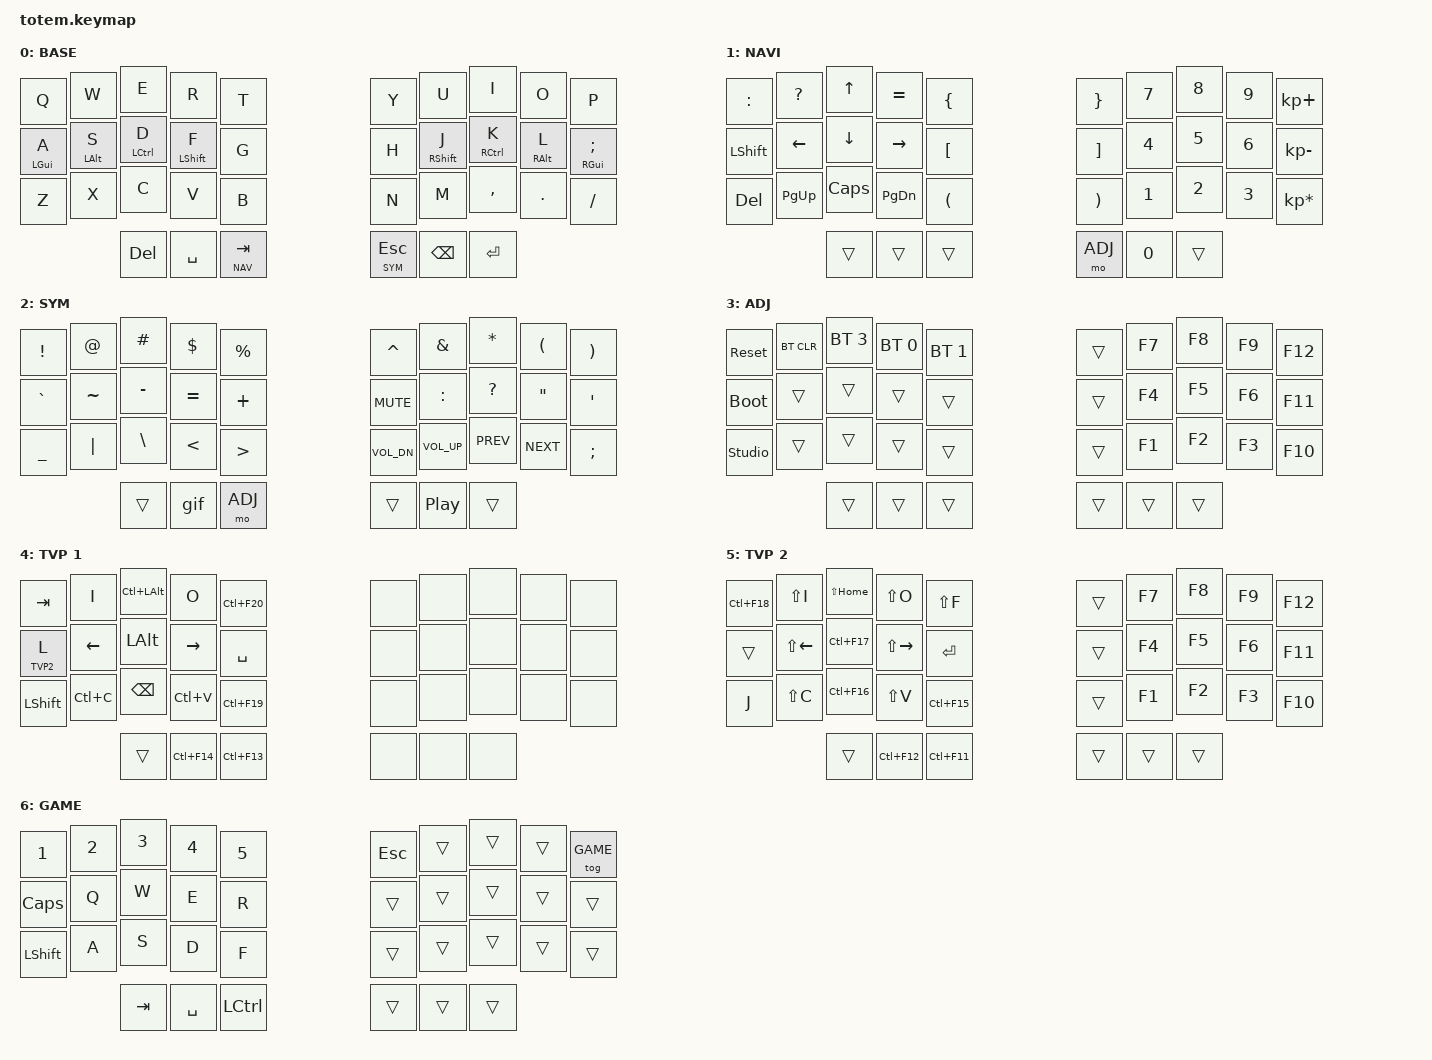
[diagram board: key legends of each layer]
//
//                                                        ▀▀▀▀▀     ▀▀▀▀▀          ▀▀█▀▀
//                                                        ▄▀▀▀▄  ▄  ▄▀▀▀▄  ▄  ▄▀▀▀▄  █  ▄▀▀▀▄
//                                                        █   █  █  █   █  █  █   █  █  █   █
//                                                         ▀▀▀   █   ▀▀▀   █   ▀▀▀   ▀   ▀▀▀
//                                                               █      ▄▄▄█▄▄▄    █   █  
//                                                               ▀      █  █  █     █▄█
//                                                             ▀▀▀▀▀    █  █  █      ▀
//                                                                      ▀  ▀  ▀
//
// ▄▄▄▄▄▄▄▄▄▄▄▄▄▄▄▄▄▄▄▄▄▄▄▄▄▄▄▄▄▄▄▄▄▄▄▄▄▄▄▄▄▄▄▄▄▄▄▄▄▄▄▄▄▄▄▄▄▄▄▄▄▄▄▄▄▄▄▄▄▄▄▄▄▄▄▄▄▄▄▄▄▄▄▄▄▄▄▄▄▄▄▄▄▄▄▄▄▄▄▄▄▄▄▄▄▄▄▄▄▄▄▄▄▄▄▄▄▄▄▄▄▄▄▄▄▄▄▄▄▄▄▄▄▄▄▄▄▄▄▄▄▄▄▄▄▄▄▄▄
       

#include <behaviors.dtsi>
#include <dt-bindings/zmk/keys.h>
#include <dt-bindings/zmk/bt.h>

#define BASE 0
#define NAV  1
#define SYM  2
#define ADJ  3
#define TVP1 4
#define TVP2 5
#define GAME 6

&mt {
  quick-tap-ms = <100>;
  global-quick-tap;
  flavor = "tap-preferred";
  tapping-term-ms = <170>;
};

/ {
     combos {
            compatible = "zmk,combos";
            combo_esc {
                timeout-ms = <50>;
                key-positions = <0 1>;
                bindings = <&kp ESC>;
                layers = <BASE NAV SYM ADJ TVP1 TVP2>;
            };
            combo_tvp {
                timeout-ms = <100>;
                key-positions = <11 12 13>;
                bindings = <&tog TVP1>;
                layers = <BASE NAV SYM ADJ TVP1 TVP2>;
            };
            combo_game {
                timeout-ms = <100>;
                key-positions = <30 35>;
                bindings = <&tog GAME>;
                layers = <BASE>;
            };
    };

    macros {
        gif: gif {
            label = "giphy";
            compatible = "zmk,behavior-macro";
            #binding-cells = <0>;
            bindings
                = <&macro_press &kp LSHFT>
                , <&macro_tap &kp N2>
                , <&macro_release &kp LSHFT>
                , <&macro_tap &kp G &kp I &kp F>
                ;
        };
    };

        keymap {
                compatible = "zmk,keymap";
// ▄▄▄▄▄▄▄▄▄▄▄▄▄▄▄▄▄▄▄▄▄▄▄▄▄▄▄▄▄▄▄▄▄▄▄▄▄▄▄▄▄▄▄▄▄▄▄▄▄▄▄▄▄▄▄▄▄▄▄▄▄▄▄▄▄▄▄▄▄▄▄▄▄▄▄▄▄▄▄▄▄▄▄▄▄▄▄▄▄▄▄▄▄▄▄▄▄▄▄▄▄▄▄▄▄▄▄▄▄▄▄▄▄▄▄▄▄▄▄▄▄▄▄▄▄▄▄▄▄▄▄▄▄▄▄▄▄▄▄▄▄▄▄▄▄▄▄▄▄

                base_layer {
// ┏━━━━━━━━━━━━━━━━━━━━━━━━━━━━━━━━━━━━━━━┓
label= "BASE"                              ;
// ┗━━━━━━━━━━━━━━━━━━━━━━━━━━━━━━━━━━━━━━━┛
//             ┏━━━━━━━━━━━┳━━━━━━━━━━━┳━━━━━━━━━━━┳━━━━━━━━━━━┳━━━━━━━━━━━┓   ┏━━━━━━━━━━━┳━━━━━━━━━━━┳━━━━━━━━━━━┳━━━━━━━━━━━┳━━━━━━━━━━━┓
//             ┃     Q     ┃     W     ┃     E     ┃     R     ┃     T     ┃   ┃     Y     ┃     U     ┃     I     ┃     O     ┃     P     ┃
//             ┣━━━━━━━━━━━╋━━━━━━━━━━━╋━━━━━━━━━━━╋━━━━━━━━━━━╋━━━━━━━━━━━┫   ┣━━━━━━━━━━━╋━━━━━━━━━━━╋━━━━━━━━━━━╋━━━━━━━━━━━╋━━━━━━━━━━━┫
//             ┃     A     ┃     S     ┃     D     ┃     F     ┃     G     ┃   ┃     H     ┃     J     ┃     K     ┃     L     ┃     ;     ┃
// ┏━━━━━━━━━━━╋━━━━━━━━━━━╋━━━━━━━━━━━╋━━━━━━━━━━━╋━━━━━━━━━━━╋━━━━━━━━━━━┫   ┣━━━━━━━━━━━╋━━━━━━━━━━━╋━━━━━━━━━━━╋━━━━━━━━━━━╋━━━━━━━━━━━╋━━━━━━━━━━━┓
// ┃     Q     ┃     Z     ┃     X     ┃     C     ┃     V     ┃     B     ┃   ┃     N     ┃     M     ┃     ,     ┃     .     ┃     /     ┃     \     ┃
// ┗━━━━━━━━━━━┻━━━━━━━━━━━┻━━━━━━━━━━━╋━━━━━━━━━━━╋━━━━━━━━━━━╋━━━━━━━━━━━┫   ┣━━━━━━━━━━━╋━━━━━━━━━━━╋━━━━━━━━━━━╋━━━━━━━━━━━┻━━━━━━━━━━━┻━━━━━━━━━━━┛
//                                     ┃    DEL    ┃   SPACE   ┃  TAB/NAV  ┃   ┃  ESC/SYM  ┃   BSPC    ┃   ENTER   ┃
//                                     ┗━━━━━━━━━━━┻━━━━━━━━━━━┻━━━━━━━━━━━┛   ┗━━━━━━━━━━━┻━━━━━━━━━━━┻━━━━━━━━━━━┛
 bindings = <
// ╷           ╷           ╷           ╷           ╷           ╷           ╷   ╷           ╷           ╷           ╷           ╷           ╷           ╷

                &kp Q       &kp W       &kp E       &kp R       &kp T           &kp Y       &kp U       &kp I       &kp O       &kp P
                &mt LGUI A  &mt LALT S  &mt LCTRL D &mt LSHFT F &kp G           &kp H       &mt RSHFT J &mt RCTRL K &mt RALT L  &mt RGUI SEMI
                &kp Z       &kp X       &kp C       &kp V       &kp B           &kp N       &kp M       &kp COMMA   &kp DOT     &kp FSLH
                                        &kp DEL   &kp SPACE   &lt NAV TAB       &lt SYM ESC   &kp BSPC   &kp RET
                        >;
                };

// ▄▄▄▄▄▄▄▄▄▄▄▄▄▄▄▄▄▄▄▄▄▄▄▄▄▄▄▄▄▄▄▄▄▄▄▄▄▄▄▄▄▄▄▄▄▄▄▄▄▄▄▄▄▄▄▄▄▄▄▄▄▄▄▄▄▄▄▄▄▄▄▄▄▄▄▄▄▄▄▄▄▄▄▄▄▄▄▄▄▄▄▄▄▄▄▄▄▄▄▄▄▄▄▄▄▄▄▄▄▄▄▄▄▄▄▄▄▄▄▄▄▄▄▄▄▄▄▄▄▄▄▄▄▄▄▄▄▄▄▄▄▄▄▄▄▄▄▄▄


                nav_layer {
// ┏━━━━━━━━━━━━━━━━━━━━━━━━━━━━━━━━━━━━━━━┓
label= "NAVI"                              ;
// ┗━━━━━━━━━━━━━━━━━━━━━━━━━━━━━━━━━━━━━━━┛
//             ┏━━━━━━━━━━━┳━━━━━━━━━━━┳━━━━━━━━━━━┳━━━━━━━━━━━┳━━━━━━━━━━━┓   ┏━━━━━━━━━━━┳━━━━━━━━━━━┳━━━━━━━━━━━┳━━━━━━━━━━━┳━━━━━━━━━━━┓
//             ┃     :     ┃     ?     ┃     UP    ┃           ┃     {     ┃   ┃     }     ┃     7     ┃     8     ┃     9     ┃     +     ┃
//             ┣━━━━━━━━━━━╋━━━━━━━━━━━╋━━━━━━━━━━━╋━━━━━━━━━━━╋━━━━━━━━━━━┫   ┣━━━━━━━━━━━╋━━━━━━━━━━━╋━━━━━━━━━━━╋━━━━━━━━━━━╋━━━━━━━━━━━┫
//             ┃   SHIFT   ┃   LEFT    ┃    DOWN   ┃   RIGHT   ┃     [     ┃   ┃     ]     ┃     4     ┃     5     ┃     6     ┃     -     ┃
// ┏━━━━━━━━━━━╋━━━━━━━━━━━╋━━━━━━━━━━━╋━━━━━━━━━━━╋━━━━━━━━━━━╋━━━━━━━━━━━┫   ┣━━━━━━━━━━━╋━━━━━━━━━━━╋━━━━━━━━━━━╋━━━━━━━━━━━╋━━━━━━━━━━━╋━━━━━━━━━━━┓
// ┃           ┃           ┃   P UP    ┃  C LOCK   ┃  P DOWN   ┃     (     ┃   ┃     )     ┃     1     ┃     2     ┃     3     ┃     *     ┃           ┃
// ┗━━━━━━━━━━━┻━━━━━━━━━━━┻━━━━━━━━━━━╋━━━━━━━━━━━╋━━━━━━━━━━━╋━━━━━━━━━━━┫   ┣━━━━━━━━━━━╋━━━━━━━━━━━╋━━━━━━━━━━━╋━━━━━━━━━━━┻━━━━━━━━━━━┻━━━━━━━━━━━┛
//                                     ┃           ┃    TAB    ┃    SPC    ┃   ┃    DEL    ┃     0     ┃           ┃
//                                     ┗━━━━━━━━━━━┻━━━━━━━━━━━┻━━━━━━━━━━━┛   ┗━━━━━━━━━━━┻━━━━━━━━━━━┻━━━━━━━━━━━┛
 bindings = <
// ╷           ╷           ╷           ╷           ╷           ╷           ╷   ╷           ╷           ╷           ╷           ╷           ╷           ╷

                &kp COLON   &kp QMARK   &kp UP      &kp EQUAL   &kp LBRC        &kp RBRC    &kp N7      &kp N8      &kp N9      &kp KP_PLUS
                &kp LSHFT   &kp LEFT    &kp DOWN    &kp RIGHT   &kp LBKT        &kp RBKT    &kp N4      &kp N5      &kp N6      &kp KP_MINUS
                &kp DEL     &kp PG_UP   &kp CAPS    &kp PG_DN   &kp LPAR        &kp RPAR    &kp N1      &kp N2      &kp N3      &kp KP_MULTIPLY
                                        &trans      &trans      &trans          &mo ADJ     &kp N0      &trans      
                        >;
                };

// ▄▄▄▄▄▄▄▄▄▄▄▄▄▄▄▄▄▄▄▄▄▄▄▄▄▄▄▄▄▄▄▄▄▄▄▄▄▄▄▄▄▄▄▄▄▄▄▄▄▄▄▄▄▄▄▄▄▄▄▄▄▄▄▄▄▄▄▄▄▄▄▄▄▄▄▄▄▄▄▄▄▄▄▄▄▄▄▄▄▄▄▄▄▄▄▄▄▄▄▄▄▄▄▄▄▄▄▄▄▄▄▄▄▄▄▄▄▄▄▄▄▄▄▄▄▄▄▄▄▄▄▄▄▄▄▄▄▄▄▄▄▄▄▄▄▄▄▄▄


                sim_layer {
// ┏━━━━━━━━━━━━━━━━━━━━━━━━━━━━━━━━━━━━━━━┓
label= "SYM"                               ;
// ┗━━━━━━━━━━━━━━━━━━━━━━━━━━━━━━━━━━━━━━━┛
//             ┏━━━━━━━━━━━┳━━━━━━━━━━━┳━━━━━━━━━━━┳━━━━━━━━━━━┳━━━━━━━━━━━┓   ┏━━━━━━━━━━━┳━━━━━━━━━━━┳━━━━━━━━━━━┳━━━━━━━━━━━┳━━━━━━━━━━━┓
//             ┃     !     ┃     @     ┃     #     ┃     $     ┃     %     ┃   ┃     ^     ┃     &     ┃     *     ┃     (     ┃     )     ┃
//             ┣━━━━━━━━━━━╋━━━━━━━━━━━╋━━━━━━━━━━━╋━━━━━━━━━━━╋━━━━━━━━━━━┫   ┣━━━━━━━━━━━╋━━━━━━━━━━━╋━━━━━━━━━━━╋━━━━━━━━━━━╋━━━━━━━━━━━┫
//             ┃     `     ┃     ~     ┃     -     ┃     =     ┃     +     ┃   ┃   MUTE    ┃     :     ┃     ?     ┃     "     ┃     '     ┃
// ┏━━━━━━━━━━━╋━━━━━━━━━━━╋━━━━━━━━━━━╋━━━━━━━━━━━╋━━━━━━━━━━━╋━━━━━━━━━━━┫   ┣━━━━━━━━━━━╋━━━━━━━━━━━╋━━━━━━━━━━━╋━━━━━━━━━━━╋━━━━━━━━━━━╋━━━━━━━━━━━┓
// ┃           ┃     _     ┃     |     ┃     \     ┃     <     ┃     >     ┃   ┃   VOL-    ┃   VOL+    ┃   PREV    ┃   NEXT    ┃     ;     ┃           ┃
// ┗━━━━━━━━━━━┻━━━━━━━━━━━┻━━━━━━━━━━━╋━━━━━━━━━━━╋━━━━━━━━━━━╋━━━━━━━━━━━┫   ┣━━━━━━━━━━━╋━━━━━━━━━━━╋━━━━━━━━━━━╋━━━━━━━━━━━┻━━━━━━━━━━━┻━━━━━━━━━━━┛
//                                     ┃           ┃    GIF    ┃    ADJ    ┃   ┃           ┃   PLAY    ┃           ┃
//                                     ┗━━━━━━━━━━━┻━━━━━━━━━━━┻━━━━━━━━━━━┛   ┗━━━━━━━━━━━┻━━━━━━━━━━━┻━━━━━━━━━━━┛
 bindings = <
// ╷           ╷           ╷           ╷           ╷           ╷           ╷   ╷           ╷           ╷           ╷           ╷           ╷           ╷

                &kp EXCL    &kp AT      &kp HASH    &kp DLLR    &kp PRCNT       &kp CARET   &kp AMPS    &kp ASTRK   &kp LPAR    &kp RPAR       
                &kp GRAVE   &kp TILDE   &kp MINUS   &kp EQUAL   &kp PLUS        &kp C_MUTE  &kp COLON   &kp QMARK   &kp DQT     &kp SQT 
                &kp UNDER   &kp PIPE    &kp BSLH    &kp LT      &kp GT          &kp C_VOL_DN &kp C_VOL_UP &kp C_PREV &kp C_NEXT  &kp SEMI
                                        &trans      &gif        &mo ADJ         &trans      &kp C_PP    &trans      
                        >;
                };

// ▄▄▄▄▄▄▄▄▄▄▄▄▄▄▄▄▄▄▄▄▄▄▄▄▄▄▄▄▄▄▄▄▄▄▄▄▄▄▄▄▄▄▄▄▄▄▄▄▄▄▄▄▄▄▄▄▄▄▄▄▄▄▄▄▄▄▄▄▄▄▄▄▄▄▄▄▄▄▄▄▄▄▄▄▄▄▄▄▄▄▄▄▄▄▄▄▄▄▄▄▄▄▄▄▄▄▄▄▄▄▄▄▄▄▄▄▄▄▄▄▄▄▄▄▄▄▄▄▄▄▄▄▄▄▄▄▄▄▄▄▄▄▄▄▄▄▄▄▄


                adjust_layer {
// ┏━━━━━━━━━━━━━━━━━━━━━━━━━━━━━━━━━━━━━━━┓
label= "ADJ"                               ;
// ┗━━━━━━━━━━━━━━━━━━━━━━━━━━━━━━━━━━━━━━━┛
//             ┏━━━━━━━━━━━┳━━━━━━━━━━━┳━━━━━━━━━━━┳━━━━━━━━━━━┳━━━━━━━━━━━┓   ┏━━━━━━━━━━━┳━━━━━━━━━━━┳━━━━━━━━━━━┳━━━━━━━━━━━┳━━━━━━━━━━━┓
//             ┃   RESET   ┃ BT CLEAR  ┃   PARK    ┃    PH0    ┃    PH1    ┃   ┃           ┃    F7     ┃    F8     ┃    F9     ┃    F12    ┃
//             ┣━━━━━━━━━━━╋━━━━━━━━━━━╋━━━━━━━━━━━╋━━━━━━━━━━━╋━━━━━━━━━━━┫   ┣━━━━━━━━━━━╋━━━━━━━━━━━╋━━━━━━━━━━━╋━━━━━━━━━━━╋━━━━━━━━━━━┫
//             ┃ BOOTLOAD  ┃           ┃           ┃           ┃           ┃   ┃           ┃    F4     ┃    F5     ┃    F6     ┃    F11    ┃
// ┏━━━━━━━━━━━╋━━━━━━━━━━━╋━━━━━━━━━━━╋━━━━━━━━━━━╋━━━━━━━━━━━╋━━━━━━━━━━━┫   ┣━━━━━━━━━━━╋━━━━━━━━━━━╋━━━━━━━━━━━╋━━━━━━━━━━━╋━━━━━━━━━━━╋━━━━━━━━━━━┓
// ┃           ┃  STUDIO   ┃           ┃           ┃           ┃           ┃   ┃           ┃    F1     ┃    F2     ┃    F3     ┃    F10    ┃           ┃
// ┗━━━━━━━━━━━┻━━━━━━━━━━━┻━━━━━━━━━━━╋━━━━━━━━━━━╋━━━━━━━━━━━╋━━━━━━━━━━━┫   ┣━━━━━━━━━━━╋━━━━━━━━━━━╋━━━━━━━━━━━╋━━━━━━━━━━━┻━━━━━━━━━━━┻━━━━━━━━━━━┛
//                                     ┃           ┃           ┃           ┃   ┃           ┃           ┃           ┃
//                                     ┗━━━━━━━━━━━┻━━━━━━━━━━━┻━━━━━━━━━━━┛   ┗━━━━━━━━━━━┻━━━━━━━━━━━┻━━━━━━━━━━━┛
 bindings = <
// ╷           ╷           ╷           ╷           ╷             ╷           ╷   ╷           ╷           ╷           ╷           ╷           ╷           ╷

                &sys_reset  &bt BT_CLR  &bt BT_SEL 3 &bt BT_SEL 0 &bt BT_SEL 1          &trans      &kp F7      &kp F8      &kp F9      &kp F12
                &bootloader &trans      &trans       &trans       &trans                &trans      &kp F4      &kp F5      &kp F6      &kp F11  
                &studio_unlock
                            &trans      &trans      &trans      &trans          &trans      &kp F1      &kp F2      &kp F3      &kp F10
                                        &trans      &trans      &trans          &trans      &trans      &trans      
                        >;
                };

// ▄▄▄▄▄▄▄▄▄▄▄▄▄▄▄▄▄▄▄▄▄▄▄▄▄▄▄▄▄▄▄▄▄▄▄▄▄▄▄▄▄▄▄▄▄▄▄▄▄▄▄▄▄▄▄▄▄▄▄▄▄▄▄▄▄▄▄▄▄▄▄▄▄▄▄▄▄▄▄▄▄▄▄▄▄▄▄▄▄▄▄▄▄▄▄▄▄▄▄▄▄▄▄▄▄▄▄▄▄▄▄▄▄▄▄▄▄▄▄▄▄▄▄▄▄▄▄▄▄▄▄▄▄▄▄▄▄▄▄▄▄▄▄▄▄▄▄▄▄


                tvp1_layer {
// ┏━━━━━━━━━━━━━━━━━━━━━━━━━━━━━━━━━━━━━━━┓
label= "TVP 1"                             ;
// ┗━━━━━━━━━━━━━━━━━━━━━━━━━━━━━━━━━━━━━━━┛
//             ┏━━━━━━━━━━━┳━━━━━━━━━━━┳━━━━━━━━━━━┳━━━━━━━━━━━┳━━━━━━━━━━━┓   ┏━━━━━━━━━━━┳━━━━━━━━━━━┳━━━━━━━━━━━┳━━━━━━━━━━━┳━━━━━━━━━━━┓
//             ┃ NEXT FILE ┃ MARK IN   ┃ ROTATE    ┃ MARK OUT  ┃ SHOW SNAP ┃   ┃           ┃           ┃           ┃           ┃           ┃
//             ┣━━━━━━━━━━━╋━━━━━━━━━━━╋━━━━━━━━━━━╋━━━━━━━━━━━╋━━━━━━━━━━━┫   ┣━━━━━━━━━━━╋━━━━━━━━━━━╋━━━━━━━━━━━╋━━━━━━━━━━━╋━━━━━━━━━━━┫
//             ┃ TVP II    ┃ LEFT      ┃ PAN       ┃ RIGHT     ┃ PLAY/FLIP ┃   ┃           ┃           ┃           ┃           ┃           ┃
// ┏━━━━━━━━━━━╋━━━━━━━━━━━╋━━━━━━━━━━━╋━━━━━━━━━━━╋━━━━━━━━━━━╋━━━━━━━━━━━┫   ┣━━━━━━━━━━━╋━━━━━━━━━━━╋━━━━━━━━━━━╋━━━━━━━━━━━╋━━━━━━━━━━━╋━━━━━━━━━━━┓
// ┃ FULLSCR   ┃ SHIFT     ┃ COPY      ┃ DELETE    ┃ PASTE     ┃ IMG MARK  ┃   ┃           ┃           ┃           ┃           ┃           ┃           ┃
// ┗━━━━━━━━━━━┻━━━━━━━━━━━┻━━━━━━━━━━━╋━━━━━━━━━━━╋━━━━━━━━━━━╋━━━━━━━━━━━┫   ┣━━━━━━━━━━━╋━━━━━━━━━━━╋━━━━━━━━━━━╋━━━━━━━━━━━┻━━━━━━━━━━━┻━━━━━━━━━━━┛
//                                     ┃           ┃ UNDO/SAVE ┃  SEL/MOV  ┃   ┃           ┃           ┃           ┃
//                                     ┗━━━━━━━━━━━┻━━━━━━━━━━━┻━━━━━━━━━━━┛   ┗━━━━━━━━━━━┻━━━━━━━━━━━┻━━━━━━━━━━━┛
 bindings = <
// ╷           ╷           ╷           ╷           ╷           ╷           ╷   ╷           ╷           ╷           ╷           ╷           ╷           ╷

                &kp TAB     &kp I       &kp LC(LALT) &kp O      &kp LC(F20)     &none       &none       &none       &none       &none
                &lt TVP2 L  &kp LEFT    &kp LALT    &kp RIGHT   &kp SPACE       &none       &none       &none       &none       &none
                &kp LSHFT   &kp LC(C)   &kp BSPC    &kp LC(V)   &kp LC(F19)     &none       &none       &none       &none       &none
                                        &trans      &kp LC(F14) &kp LC(F13)     &none       &none       &none    
                        >;
                };

// ▄▄▄▄▄▄▄▄▄▄▄▄▄▄▄▄▄▄▄▄▄▄▄▄▄▄▄▄▄▄▄▄▄▄▄▄▄▄▄▄▄▄▄▄▄▄▄▄▄▄▄▄▄▄▄▄▄▄▄▄▄▄▄▄▄▄▄▄▄▄▄▄▄▄▄▄▄▄▄▄▄▄▄▄▄▄▄▄▄▄▄▄▄▄▄▄▄▄▄▄▄▄▄▄▄▄▄▄▄▄▄▄▄▄▄▄▄▄▄▄▄▄▄▄▄▄▄▄▄▄▄▄▄▄▄▄▄▄▄▄▄▄▄▄▄▄▄▄▄


                tvp2_layer {
// ┏━━━━━━━━━━━━━━━━━━━━━━━━━━━━━━━━━━━━━━━┓
label= "TVP 2"                             ;
// ┗━━━━━━━━━━━━━━━━━━━━━━━━━━━━━━━━━━━━━━━┛
//             ┏━━━━━━━━━━━┳━━━━━━━━━━━┳━━━━━━━━━━━┳━━━━━━━━━━━┳━━━━━━━━━━━┓   ┏━━━━━━━━━━━┳━━━━━━━━━━━┳━━━━━━━━━━━┳━━━━━━━━━━━┳━━━━━━━━━━━┓
//             ┃ SOLO      ┃ TOGGLE IN ┃ RESET ROT ┃ TOGGLE OUT┃ TAKE SNAP ┃   ┃           ┃           ┃           ┃           ┃           ┃
//             ┣━━━━━━━━━━━╋━━━━━━━━━━━╋━━━━━━━━━━━╋━━━━━━━━━━━╋━━━━━━━━━━━┫   ┣━━━━━━━━━━━╋━━━━━━━━━━━╋━━━━━━━━━━━╋━━━━━━━━━━━╋━━━━━━━━━━━┫
//             ┃ ---       ┃ LAST KEY  ┃ NEW KEY   ┃ NEXT KEY  ┃ ENTER     ┃   ┃           ┃           ┃           ┃           ┃           ┃
// ┏━━━━━━━━━━━╋━━━━━━━━━━━╋━━━━━━━━━━━╋━━━━━━━━━━━╋━━━━━━━━━━━╋━━━━━━━━━━━┫   ┣━━━━━━━━━━━╋━━━━━━━━━━━╋━━━━━━━━━━━╋━━━━━━━━━━━╋━━━━━━━━━━━╋━━━━━━━━━━━┓
// ┃           ┃ FULLSCR   ┃ CPY2BRUSH ┃ DEL HEAD  ┃ PSTinPLACE┃ BOOK MARK ┃   ┃           ┃           ┃           ┃           ┃           ┃           ┃
// ┗━━━━━━━━━━━┻━━━━━━━━━━━┻━━━━━━━━━━━╋━━━━━━━━━━━╋━━━━━━━━━━━╋━━━━━━━━━━━┫   ┣━━━━━━━━━━━╋━━━━━━━━━━━╋━━━━━━━━━━━╋━━━━━━━━━━━┻━━━━━━━━━━━┻━━━━━━━━━━━┛
//                                     ┃           ┃ REDO/SAV1 ┃TRANS/WARP ┃   ┃           ┃           ┃           ┃
//                                     ┗━━━━━━━━━━━┻━━━━━━━━━━━┻━━━━━━━━━━━┛   ┗━━━━━━━━━━━┻━━━━━━━━━━━┻━━━━━━━━━━━┛
 bindings = <
// ╷           ╷           ╷           ╷           ╷           ╷           ╷   ╷           ╷           ╷           ╷           ╷           ╷           ╷

                &kp LC(F18) &kp LS(I)  &kp LS(HOME) &kp LS(O)   &kp LS(F)       &trans      &kp F7      &kp F8      &kp F9      &kp F12
                &trans      &kp LS(LEFT) &kp LC(F17) &kp LS(RIGHT) &kp RET      &trans      &kp F4      &kp F5      &kp F6      &kp F11  
                &kp J       &kp LS(C)   &kp LC(F16) &kp LS(V)   &kp LC(F15)     &trans      &kp F1      &kp F2      &kp F3      &kp F10
                                        &trans      &kp LC(F12) &kp LC(F11)     &trans      &trans      &trans
                        >;
                };

// ▄▄▄▄▄▄▄▄▄▄▄▄▄▄▄▄▄▄▄▄▄▄▄▄▄▄▄▄▄▄▄▄▄▄▄▄▄▄▄▄▄▄▄▄▄▄▄▄▄▄▄▄▄▄▄▄▄▄▄▄▄▄▄▄▄▄▄▄▄▄▄▄▄▄▄▄▄▄▄▄▄▄▄▄▄▄▄▄▄▄▄▄▄▄▄▄▄▄▄▄▄▄▄▄▄▄▄▄▄▄▄▄▄▄▄▄▄▄▄▄▄▄▄▄▄▄▄▄▄▄▄▄▄▄▄▄▄▄▄▄▄▄▄▄▄▄▄▄▄


                game_layer {
// ┏━━━━━━━━━━━━━━━━━━━━━━━━━━━━━━━━━━━━━━━┓
label= "GAME"                              ;
// ┗━━━━━━━━━━━━━━━━━━━━━━━━━━━━━━━━━━━━━━━┛
//             ┏━━━━━━━━━━━┳━━━━━━━━━━━┳━━━━━━━━━━━┳━━━━━━━━━━━┳━━━━━━━━━━━┓   ┏━━━━━━━━━━━┳━━━━━━━━━━━┳━━━━━━━━━━━┳━━━━━━━━━━━┳━━━━━━━━━━━┓
//             ┃     1     ┃     2     ┃     3     ┃     4     ┃     5     ┃   ┃    ESC    ┃           ┃           ┃           ┃    EXIT   ┃
//             ┣━━━━━━━━━━━╋━━━━━━━━━━━╋━━━━━━━━━━━╋━━━━━━━━━━━╋━━━━━━━━━━━┫   ┣━━━━━━━━━━━╋━━━━━━━━━━━╋━━━━━━━━━━━╋━━━━━━━━━━━╋━━━━━━━━━━━┫
//             ┃   CAPS    ┃     Q     ┃     W     ┃     E     ┃     R     ┃   ┃           ┃           ┃           ┃           ┃           ┃
// ┏━━━━━━━━━━━╋━━━━━━━━━━━╋━━━━━━━━━━━╋━━━━━━━━━━━╋━━━━━━━━━━━╋━━━━━━━━━━━┫   ┣━━━━━━━━━━━╋━━━━━━━━━━━╋━━━━━━━━━━━╋━━━━━━━━━━━╋━━━━━━━━━━━╋━━━━━━━━━━━┓
// ┃           ┃   SHIFT   ┃     A     ┃     S     ┃     D     ┃     F     ┃   ┃           ┃           ┃           ┃           ┃           ┃           ┃
// ┗━━━━━━━━━━━┻━━━━━━━━━━━┻━━━━━━━━━━━╋━━━━━━━━━━━╋━━━━━━━━━━━╋━━━━━━━━━━━┫   ┣━━━━━━━━━━━╋━━━━━━━━━━━╋━━━━━━━━━━━╋━━━━━━━━━━━┻━━━━━━━━━━━┻━━━━━━━━━━━┛
//                                     ┃    TAB    ┃   SPACE   ┃   CTRL    ┃   ┃           ┃           ┃           ┃
//                                     ┗━━━━━━━━━━━┻━━━━━━━━━━━┻━━━━━━━━━━━┛   ┗━━━━━━━━━━━┻━━━━━━━━━━━┻━━━━━━━━━━━┛
 bindings = <
// ╷           ╷           ╷           ╷           ╷           ╷           ╷   ╷           ╷           ╷           ╷           ╷           ╷           ╷

                &kp N1      &kp N2      &kp N3      &kp N4      &kp N5          &kp ESC     &trans      &trans      &trans      &tog GAME
                &kp CAPS    &kp Q       &kp W       &kp E       &kp R           &trans      &trans      &trans      &trans      &trans
                &kp LSHFT   &kp A       &kp S       &kp D       &kp F           &trans      &trans      &trans      &trans      &trans
                                        &kp TAB     &kp SPACE   &kp LCTRL       &trans      &trans      &trans
                        >;
                };
        };
};
